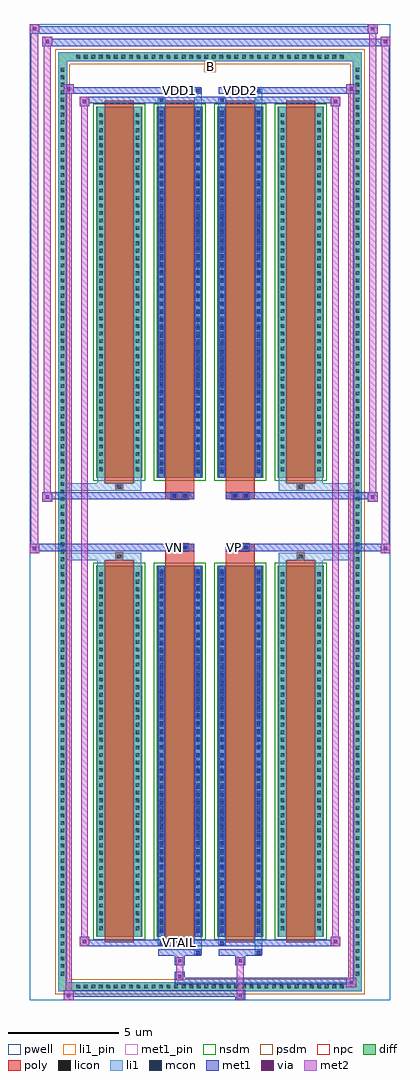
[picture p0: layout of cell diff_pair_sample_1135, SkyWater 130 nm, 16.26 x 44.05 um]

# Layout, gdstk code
import gdstk
lib = gdstk.Library(unit=1e-6, precision=5e-09)
def R(c, l, rs):  # rectangles x0, y0, x1, y1
    for r in rs: c.add(gdstk.rectangle(r[:2], r[2:], *l))
def A(c, l, x, y, w, h, nx, ny, dx, dy):  # array of equal rectangles
    R(c, l, [(x+i*dx, y+j*dy, x+i*dx+w, y+j*dy+h) for i in range(nx) for j in range(ny)])
def P(c, l, *ps):  # polygons
    for p in ps: c.add(gdstk.Polygon(p, *l))
pwell = (64, 44)
diff = (65, 20)
poly = (66, 20)
licon = (66, 44)
li1_pin = (67, 16)
li1 = (67, 20)
mcon = (67, 44)
met1_pin = (68, 16)
met1 = (68, 20)
via = (68, 44)
met2 = (69, 20)
nsdm = (93, 44)
psdm = (94, 20)
npc = (95, 20)

diff_pair_sample_1135 = lib.new_cell('diff_pair_sample_1135')
R(diff_pair_sample_1135, pwell, [(-8.13,-21.59,8.13,22.46), (-5.45,-19.78,-0.01,-0.8), (0.01,-19.78,5.45,-0.8), (-5.45,0.8,-0.01,19.78), (0.01,0.8,5.45,19.78)])
A(diff_pair_sample_1135, diff, -6.155, -21.19, 0.41, 0.41, 36, 2, 0.34, 41.97)
A(diff_pair_sample_1135, diff, -6.86, -20.605, 0.41, 0.41, 1, 121, 0, 0.34)
A(diff_pair_sample_1135, diff, 6.45, -20.605, 0.41, 0.41, 1, 121, 0, 0.34)
A(diff_pair_sample_1135, diff, -5.14, -18.735, 2.09, 16.75, 4, 2, 2.73, 20.72)
R(diff_pair_sample_1135, diff, [(-6.155,-21.19,6.155,-20.78), (-6.86,-20.605,-6.45,20.605), (6.45,-20.605,6.86,20.605), (-6.155,20.78,6.155,21.19)])
P(diff_pair_sample_1135, diff, [(6.86,21.19),(-6.86,21.19),(-6.86,-20.78),(-6.45,-20.78),(-6.45,20.78),(6.45,20.78),(6.45,-20.78),(-6.45,-20.78),(-6.86,-20.78),(-6.86,-21.19),(6.86,-21.19)])
A(diff_pair_sample_1135, poly, -4.75, -18.985, 1.31, 17.25, 4, 2, 2.73, 20.72)
R(diff_pair_sample_1135, poly, [(-4.26,-1.735,-3.93,-1.405), (-4.26,-1.735,-3.93,-1.405), (-2.02,-1.735,-0.71,-1.33), (0.71,-1.735,2.02,-1.33), (3.93,-1.735,4.26,-1.405), (3.93,-1.735,4.26,-1.405), (-2.02,-1.33,-0.71,-1), (-1.78,-1.33,-1.45,-1), (-1.28,-1.33,-0.95,-1), (0.71,-1.33,2.02,-1), (0.95,-1.33,1.28,-1), (1.45,-1.33,1.78,-1), (-2.02,1,-0.71,1.33), (-1.78,1,-1.45,1.33), (-1.28,1,-0.95,1.33), (0.71,1,2.02,1.33), (0.95,1,1.28,1.33), (1.45,1,1.78,1.33), (-2.02,1.33,-0.71,1.735), (0.71,1.33,2.02,1.735), (-4.26,1.405,-3.93,1.735), (-4.26,1.405,-3.93,1.735), (3.93,1.405,4.26,1.735), (3.93,1.405,4.26,1.735)])
A(diff_pair_sample_1135, licon, -6.035, -21.07, 0.17, 0.17, 36, 2, 0.34, 41.97)
A(diff_pair_sample_1135, licon, -6.74, -20.485, 0.17, 0.17, 1, 121, 0, 0.34)
A(diff_pair_sample_1135, licon, 6.57, -20.485, 0.17, 0.17, 1, 121, 0, 0.34)
A(diff_pair_sample_1135, licon, -5, -18.435, 0.17, 0.17, 1, 48, 0, 0.34)
A(diff_pair_sample_1135, licon, -3.36, -18.435, 0.17, 0.17, 1, 48, 0, 0.34)
A(diff_pair_sample_1135, licon, -2.27, -18.435, 0.17, 0.17, 1, 48, 0, 0.34)
A(diff_pair_sample_1135, licon, -0.63, -18.435, 0.17, 0.17, 1, 48, 0, 0.34)
A(diff_pair_sample_1135, licon, 0.46, -18.435, 0.17, 0.17, 1, 48, 0, 0.34)
A(diff_pair_sample_1135, licon, 2.1, -18.435, 0.17, 0.17, 1, 48, 0, 0.34)
A(diff_pair_sample_1135, licon, 3.19, -18.435, 0.17, 0.17, 1, 48, 0, 0.34)
A(diff_pair_sample_1135, licon, 4.83, -18.435, 0.17, 0.17, 1, 48, 0, 0.34)
A(diff_pair_sample_1135, licon, -5, 2.285, 0.17, 0.17, 1, 48, 0, 0.34)
A(diff_pair_sample_1135, licon, -3.36, 2.285, 0.17, 0.17, 1, 48, 0, 0.34)
A(diff_pair_sample_1135, licon, -2.27, 2.285, 0.17, 0.17, 1, 48, 0, 0.34)
A(diff_pair_sample_1135, licon, -0.63, 2.285, 0.17, 0.17, 1, 48, 0, 0.34)
A(diff_pair_sample_1135, licon, 0.46, 2.285, 0.17, 0.17, 1, 48, 0, 0.34)
A(diff_pair_sample_1135, licon, 2.1, 2.285, 0.17, 0.17, 1, 48, 0, 0.34)
A(diff_pair_sample_1135, licon, 3.19, 2.285, 0.17, 0.17, 1, 48, 0, 0.34)
A(diff_pair_sample_1135, licon, 4.83, 2.285, 0.17, 0.17, 1, 48, 0, 0.34)
R(diff_pair_sample_1135, licon, [(-4.18,-1.655,-4.01,-1.485), (4.01,-1.655,4.18,-1.485), (-1.7,-1.25,-1.53,-1.08), (-1.2,-1.25,-1.03,-1.08), (1.03,-1.25,1.2,-1.08), (1.53,-1.25,1.7,-1.08), (-1.7,1.08,-1.53,1.25), (-1.2,1.08,-1.03,1.25), (1.03,1.08,1.2,1.25), (1.53,1.08,1.7,1.25), (-4.18,1.485,-4.01,1.655), (4.01,1.485,4.18,1.655)])
R(diff_pair_sample_1135, li1_pin, [(-0.25,20.28,0.25,20.78)])
A(diff_pair_sample_1135, li1, -6.115, -21.15, 0.33, 0.33, 36, 2, 0.34, 41.97)
A(diff_pair_sample_1135, li1, -6.82, -20.565, 0.33, 0.33, 1, 121, 0, 0.34)
A(diff_pair_sample_1135, li1, 6.49, -20.565, 0.33, 0.33, 1, 121, 0, 0.34)
A(diff_pair_sample_1135, li1, -2.27, -18.545, 0.17, 0.17, 1, 46, 0, 0.36)
A(diff_pair_sample_1135, li1, -0.63, -18.545, 0.17, 0.17, 1, 46, 0, 0.36)
A(diff_pair_sample_1135, li1, 0.46, -18.545, 0.17, 0.17, 1, 46, 0, 0.36)
A(diff_pair_sample_1135, li1, 2.1, -18.545, 0.17, 0.17, 1, 46, 0, 0.36)
A(diff_pair_sample_1135, li1, -5.08, -18.515, 0.33, 0.33, 1, 48, 0, 0.34)
A(diff_pair_sample_1135, li1, -3.44, -18.515, 0.33, 0.33, 1, 48, 0, 0.34)
A(diff_pair_sample_1135, li1, -2.35, -18.515, 0.33, 0.33, 1, 48, 0, 0.34)
A(diff_pair_sample_1135, li1, -0.71, -18.515, 0.33, 0.33, 1, 48, 0, 0.34)
A(diff_pair_sample_1135, li1, 0.38, -18.515, 0.33, 0.33, 1, 48, 0, 0.34)
A(diff_pair_sample_1135, li1, 2.02, -18.515, 0.33, 0.33, 1, 48, 0, 0.34)
A(diff_pair_sample_1135, li1, 3.11, -18.515, 0.33, 0.33, 1, 48, 0, 0.34)
A(diff_pair_sample_1135, li1, 4.75, -18.515, 0.33, 0.33, 1, 48, 0, 0.34)
A(diff_pair_sample_1135, li1, -2.27, 2.175, 0.17, 0.17, 1, 46, 0, 0.36)
A(diff_pair_sample_1135, li1, -0.63, 2.175, 0.17, 0.17, 1, 46, 0, 0.36)
A(diff_pair_sample_1135, li1, 0.46, 2.175, 0.17, 0.17, 1, 46, 0, 0.36)
A(diff_pair_sample_1135, li1, 2.1, 2.175, 0.17, 0.17, 1, 46, 0, 0.36)
A(diff_pair_sample_1135, li1, -5.08, 2.205, 0.33, 0.33, 1, 48, 0, 0.34)
A(diff_pair_sample_1135, li1, -3.44, 2.205, 0.33, 0.33, 1, 48, 0, 0.34)
A(diff_pair_sample_1135, li1, -2.35, 2.205, 0.33, 0.33, 1, 48, 0, 0.34)
A(diff_pair_sample_1135, li1, -0.71, 2.205, 0.33, 0.33, 1, 48, 0, 0.34)
A(diff_pair_sample_1135, li1, 0.38, 2.205, 0.33, 0.33, 1, 48, 0, 0.34)
A(diff_pair_sample_1135, li1, 2.02, 2.205, 0.33, 0.33, 1, 48, 0, 0.34)
A(diff_pair_sample_1135, li1, 3.11, 2.205, 0.33, 0.33, 1, 48, 0, 0.34)
A(diff_pair_sample_1135, li1, 4.75, 2.205, 0.33, 0.33, 1, 48, 0, 0.34)
R(diff_pair_sample_1135, li1, [(-6.86,-21.19,-6.45,-20.78), (-6.86,-21.19,-6.45,-20.78), (-6.45,-21.19,6.45,-20.78), (6.45,-21.19,6.86,-20.78), (6.45,-21.19,6.86,-20.78), (-6.86,-20.78,-6.45,20.78), (6.45,-20.78,6.86,20.78), (-0.71,-19.54,-0.38,-18.735), (-0.63,-19.54,-0.46,-19.37), (2.02,-19.54,2.35,-18.735), (2.1,-19.54,2.27,-19.37), (-2.35,-19.11,-2.02,-18.735), (-2.27,-19.11,-2.1,-18.94), (0.38,-19.11,0.71,-18.735), (0.46,-19.11,0.63,-18.94), (-5.08,-18.735,-4.75,-1.985), (-3.44,-18.735,-3.11,-1.985), (-2.35,-18.735,-2.02,-1.985), (-0.71,-18.735,-0.38,-1.985), (0.38,-18.735,0.71,-1.985), (2.02,-18.735,2.35,-1.985), (3.11,-18.735,3.44,-1.985), (4.75,-18.735,5.08,-1.985), (-2.27,-18.545,-2.1,-2.175), (-0.63,-18.545,-0.46,-2.175), (0.46,-18.545,0.63,-2.175), (2.1,-18.545,2.27,-2.175), (-5.08,-1.985,-4.75,-1.405), (-3.44,-1.985,-3.11,-1.405), (3.11,-1.985,3.44,-1.405), (4.75,-1.985,5.08,-1.405), (-6.86,-1.735,-4.26,-1.405), (-5.08,-1.735,-4.26,-1.405), (-4.26,-1.735,-3.93,-1.405), (-3.93,-1.735,-3.11,-1.405), (3.11,-1.735,3.93,-1.405), (3.93,-1.735,4.26,-1.405), (3.93,-1.735,6.86,-1.405), (4.26,-1.735,5.08,-1.405), (-1.78,-1.33,-1.45,-1), (-1.28,-1.33,-0.95,-1), (0.95,-1.33,1.28,-1), (1.45,-1.33,1.78,-1), (-1.78,1,-1.45,1.33), (-1.28,1,-0.95,1.33), (0.95,1,1.28,1.33), (1.45,1,1.78,1.33), (-6.86,1.405,-4.26,1.735), (-5.08,1.405,-4.26,1.735), (-5.08,1.405,-4.75,1.985), (-4.26,1.405,-3.93,1.735), (-3.93,1.405,-3.11,1.735), (-3.44,1.405,-3.11,1.985), (3.11,1.405,3.93,1.735), (3.11,1.405,3.44,1.985), (3.93,1.405,4.26,1.735), (3.93,1.405,6.86,1.735), (4.26,1.405,5.08,1.735), (4.75,1.405,5.08,1.985), (-5.08,1.985,-4.75,18.735), (-3.44,1.985,-3.11,18.735), (-2.35,1.985,-2.02,18.735), (-0.71,1.985,-0.38,18.735), (0.38,1.985,0.71,18.735), (2.02,1.985,2.35,18.735), (3.11,1.985,3.44,18.735), (4.75,1.985,5.08,18.735), (-2.27,2.175,-2.1,18.545), (-0.63,2.175,-0.46,18.545), (0.46,2.175,0.63,18.545), (2.1,2.175,2.27,18.545), (-2.35,18.735,-2.02,19.11), (-0.71,18.735,-0.38,19.54), (0.38,18.735,0.71,19.11), (2.02,18.735,2.35,19.54), (-2.27,18.94,-2.1,19.11), (0.46,18.94,0.63,19.11), (-0.63,19.37,-0.46,19.54), (2.1,19.37,2.27,19.54), (-6.86,20.78,-6.45,21.19), (-6.86,20.78,-6.45,21.19), (-6.45,20.78,6.45,21.19), (6.45,20.78,6.86,21.19), (6.45,20.78,6.86,21.19)])
A(diff_pair_sample_1135, mcon, -2.27, -18.545, 0.17, 0.17, 1, 46, 0, 0.36)
A(diff_pair_sample_1135, mcon, -0.63, -18.545, 0.17, 0.17, 1, 46, 0, 0.36)
A(diff_pair_sample_1135, mcon, 0.46, -18.545, 0.17, 0.17, 1, 46, 0, 0.36)
A(diff_pair_sample_1135, mcon, 2.1, -18.545, 0.17, 0.17, 1, 46, 0, 0.36)
A(diff_pair_sample_1135, mcon, -2.27, 2.175, 0.17, 0.17, 1, 46, 0, 0.36)
A(diff_pair_sample_1135, mcon, -0.63, 2.175, 0.17, 0.17, 1, 46, 0, 0.36)
A(diff_pair_sample_1135, mcon, 0.46, 2.175, 0.17, 0.17, 1, 46, 0, 0.36)
A(diff_pair_sample_1135, mcon, 2.1, 2.175, 0.17, 0.17, 1, 46, 0, 0.36)
R(diff_pair_sample_1135, mcon, [(-0.63,-19.54,-0.46,-19.37), (2.1,-19.54,2.27,-19.37), (-2.27,-19.11,-2.1,-18.94), (0.46,-19.11,0.63,-18.94), (-1.7,-1.25,-1.53,-1.08), (-1.2,-1.25,-1.03,-1.08), (1.03,-1.25,1.2,-1.08), (1.53,-1.25,1.7,-1.08), (-1.7,1.08,-1.53,1.25), (-1.2,1.08,-1.03,1.25), (1.03,1.08,1.2,1.25), (1.53,1.08,1.7,1.25), (-2.27,18.94,-2.1,19.11), (0.46,18.94,0.63,19.11), (-0.63,19.37,-0.46,19.54), (2.1,19.37,2.27,19.54)])
R(diff_pair_sample_1135, met1_pin, [(-1.5,-19.15,-1.23,-18.88), (-1.75,-1.29,-1.48,-1.02), (0.98,-1.29,1.25,-1.02), (-1.5,19.33,-1.23,19.6), (1.23,19.33,1.5,19.6)])
A(diff_pair_sample_1135, met1, -2.33, -18.605, 0.29, 0.29, 1, 46, 0, 0.36)
A(diff_pair_sample_1135, met1, -0.69, -18.605, 0.29, 0.29, 1, 46, 0, 0.36)
A(diff_pair_sample_1135, met1, 0.4, -18.605, 0.29, 0.29, 1, 46, 0, 0.36)
A(diff_pair_sample_1135, met1, 2.04, -18.605, 0.29, 0.29, 1, 46, 0, 0.36)
A(diff_pair_sample_1135, met1, -2.33, 2.115, 0.29, 0.29, 1, 46, 0, 0.36)
A(diff_pair_sample_1135, met1, -0.69, 2.115, 0.29, 0.29, 1, 46, 0, 0.36)
A(diff_pair_sample_1135, met1, 0.4, 2.115, 0.29, 0.29, 1, 46, 0, 0.36)
A(diff_pair_sample_1135, met1, 2.04, 2.115, 0.29, 0.29, 1, 46, 0, 0.36)
R(diff_pair_sample_1135, met1, [(-6.59,-21.59,-6.16,-21.16), (1.15,-21.59,1.58,-21.16), (-6.59,-21.45,1.58,-21.16), (6.16,-21.02,6.59,-20.59), (-1.58,-20.88,6.59,-20.59), (-1.58,-20.74,-1.15,-20.31), (-1.58,-20.03,-1.15,-19.6), (1.15,-20.03,1.58,-19.6), (-2.33,-19.6,-0.4,-19.31), (-0.69,-19.6,-0.4,-19.31), (0.4,-19.6,2.33,-19.31), (2.04,-19.6,2.33,-19.31), (-5.88,-19.17,-5.45,-18.74), (-5.88,-19.17,-2.33,-18.88), (-2.33,-19.17,-2.04,-18.88), (-2.33,-19.17,-0.4,-18.88), (-0.4,-19.17,0.4,-18.88), (0.4,-19.17,0.69,-18.88), (0.4,-19.17,2.33,-18.88), (2.33,-19.17,5.88,-18.88), (5.45,-19.17,5.88,-18.74), (-2.33,-18.735,-2.04,-1.985), (-0.69,-18.735,-0.4,-1.985), (0.4,-18.735,0.69,-1.985), (2.04,-18.735,2.33,-1.985), (-8.13,-1.43,-7.7,-1), (7.7,-1.43,8.13,-1), (-8.13,-1.33,-0.71,-1), (-2.02,-1.33,-0.71,-1), (0.71,-1.33,2.02,-1), (0.71,-1.33,8.13,-1), (-1.76,-1.31,-1.47,-1.02), (-1.26,-1.31,-0.97,-1.02), (0.97,-1.31,1.26,-1.02), (1.47,-1.31,1.76,-1.02), (-7.56,0.9,-7.13,1.33), (7.13,0.9,7.56,1.33), (-7.56,1,-2.02,1.33), (-2.02,1,-0.71,1.33), (0.71,1,2.02,1.33), (2.02,1,7.56,1.33), (-1.76,1.02,-1.47,1.31), (-1.26,1.02,-0.97,1.31), (0.97,1.02,1.26,1.31), (1.47,1.02,1.76,1.31), (-2.33,1.985,-2.04,18.735), (-0.69,1.985,-0.4,18.735), (0.4,1.985,0.69,18.735), (2.04,1.985,2.33,18.735), (-5.88,18.74,-5.45,19.17), (5.45,18.74,5.88,19.17), (-5.88,18.88,-2.33,19.17), (-2.33,18.88,-2.04,19.17), (-2.33,18.88,-0.4,19.17), (-0.4,18.88,0.4,19.17), (0.4,18.88,0.69,19.17), (0.4,18.88,2.33,19.17), (2.33,18.88,5.88,19.17), (-6.59,19.31,-6.16,19.74), (-6.59,19.31,-2.33,19.6), (-2.33,19.31,-0.4,19.6), (-0.69,19.31,-0.4,19.6), (0.4,19.31,2.33,19.6), (2.04,19.31,2.33,19.6), (2.33,19.31,6.59,19.6), (6.16,19.31,6.59,19.74), (-7.56,21.46,-7.13,21.89), (-7.56,21.46,-5.45,21.79), (-5.45,21.46,5.45,21.79), (5.45,21.46,8.13,21.79), (7.7,21.46,8.13,21.89), (-8.13,22.03,-7.7,22.46), (-8.13,22.03,-5.45,22.36), (-5.45,22.03,5.45,22.36), (5.45,22.03,7.56,22.36), (7.13,22.03,7.56,22.46)])
R(diff_pair_sample_1135, via, [(-6.45,-21.45,-6.3,-21.3), (1.29,-21.45,1.44,-21.3), (6.3,-20.88,6.45,-20.73), (-1.44,-20.6,-1.29,-20.45), (-1.44,-19.89,-1.29,-19.74), (1.29,-19.89,1.44,-19.74), (-5.74,-19.03,-5.59,-18.88), (5.59,-19.03,5.74,-18.88), (-7.99,-1.29,-7.84,-1.14), (7.84,-1.29,7.99,-1.14), (-7.42,1.04,-7.27,1.19), (7.27,1.04,7.42,1.19), (-5.74,18.88,-5.59,19.03), (5.59,18.88,5.74,19.03), (-6.45,19.45,-6.3,19.6), (6.3,19.45,6.45,19.6), (-7.42,21.6,-7.27,21.75), (7.84,21.6,7.99,21.75), (-7.99,22.17,-7.84,22.32), (7.27,22.17,7.42,22.32)])
R(diff_pair_sample_1135, met2, [(-6.59,-21.59,-6.16,-21.16), (-6.52,-21.59,-6.23,19.74), (-6.23,-21.59,-6.16,-21.16), (-6.54,-21.54,-6.21,-21.21), (1.2,-21.54,1.53,-21.21), (1.2,-21.21,1.53,-19.98), (6.16,-21.02,6.59,-20.59), (6.23,-21.02,6.52,19.74), (6.52,-21.02,6.59,-20.59), (6.21,-20.97,6.54,-20.64), (-1.53,-20.69,-1.2,-20.36), (-1.53,-20.36,-1.2,-19.98), (-1.53,-19.98,-1.2,-19.65), (1.2,-19.98,1.53,-19.65), (-5.88,-19.17,-5.45,-18.74), (-5.81,-19.17,-5.52,19.17), (-5.52,-19.17,-5.45,-18.74), (5.45,-19.17,5.88,-18.74), (5.52,-19.17,5.81,19.17), (5.81,-19.17,5.88,-18.74), (-5.83,-19.12,-5.5,-18.79), (5.5,-19.12,5.83,-18.79), (-8.13,-1.43,-7.7,-1), (-8.08,-1.43,-7.75,22.46), (-7.75,-1.43,-7.7,-1), (7.7,-1.43,8.13,-1), (7.75,-1.43,8.08,21.89), (8.08,-1.43,8.13,-1), (-8.08,-1.38,-7.75,-1.05), (7.75,-1.38,8.08,-1.05), (-7.56,0.9,-7.13,1.33), (-7.51,0.9,-7.18,21.89), (-7.18,0.9,-7.13,1.33), (7.13,0.9,7.56,1.33), (7.18,0.9,7.51,22.46), (7.51,0.9,7.56,1.33), (-7.51,0.95,-7.18,1.28), (7.18,0.95,7.51,1.28), (-5.88,18.74,-5.45,19.17), (-5.52,18.74,-5.45,19.17), (5.45,18.74,5.88,19.17), (5.81,18.74,5.88,19.17), (-5.83,18.79,-5.5,19.12), (5.5,18.79,5.83,19.12), (-6.59,19.31,-6.16,19.74), (-6.23,19.31,-6.16,19.74), (6.16,19.31,6.59,19.74), (6.52,19.31,6.59,19.74), (-6.54,19.36,-6.21,19.69), (6.21,19.36,6.54,19.69), (-7.56,21.46,-7.13,21.89), (-7.18,21.46,-7.13,21.89), (7.7,21.46,8.13,21.89), (8.08,21.46,8.13,21.89), (-7.51,21.51,-7.18,21.84), (7.75,21.51,8.08,21.84), (-8.13,22.03,-7.7,22.46), (-7.75,22.03,-7.7,22.46), (7.13,22.03,7.56,22.46), (7.51,22.03,7.56,22.46), (-8.08,22.08,-7.75,22.41), (7.18,22.08,7.51,22.41)])
A(diff_pair_sample_1135, nsdm, -5.27, -18.865, 2.35, 17.01, 4, 2, 2.73, 20.72)
P(diff_pair_sample_1135, psdm, [(6.99,21.32),(-6.99,21.32),(-6.99,-20.65),(-6.32,-20.65),(-6.32,20.65),(6.32,20.65),(6.32,-20.65),(-6.32,-20.65),(-6.99,-20.65),(-6.99,-21.32),(6.99,-21.32)])
R(diff_pair_sample_1135, npc, [(-4.28,-1.755,-3.91,-1.385), (3.91,-1.755,4.28,-1.385), (-1.8,-1.35,-1.43,-0.98), (-1.8,-1.35,-0.93,-0.98), (-1.8,-1.35,-0.93,-0.98), (-1.3,-1.35,-0.93,-0.98), (0.93,-1.35,1.3,-0.98), (0.93,-1.35,1.8,-0.98), (0.93,-1.35,1.8,-0.98), (1.43,-1.35,1.8,-0.98), (-1.8,0.98,-1.43,1.35), (-1.8,0.98,-0.93,1.35), (-1.8,0.98,-0.93,1.35), (-1.3,0.98,-0.93,1.35), (0.93,0.98,1.3,1.35), (0.93,0.98,1.8,1.35), (0.93,0.98,1.8,1.35), (1.43,0.98,1.8,1.35), (-4.28,1.385,-3.91,1.755), (3.91,1.385,4.28,1.755)])
diff_pair_sample_1135.add(gdstk.Label('VTAIL', (-1.365,-19.015), layer=68, texttype=5))
diff_pair_sample_1135.add(gdstk.Label('VN', (-1.615,-1.155), layer=68, texttype=5))
diff_pair_sample_1135.add(gdstk.Label('VP', (1.115,-1.155), layer=68, texttype=5))
diff_pair_sample_1135.add(gdstk.Label('B', (0,20.53), layer=67, texttype=5))
diff_pair_sample_1135.add(gdstk.Label('VDD2', (1.365,19.465), layer=68, texttype=5))
diff_pair_sample_1135.add(gdstk.Label('VDD1', (-1.365,19.465), layer=68, texttype=5))

lib.write_gds('diff_pair_sample_1135.gds')
